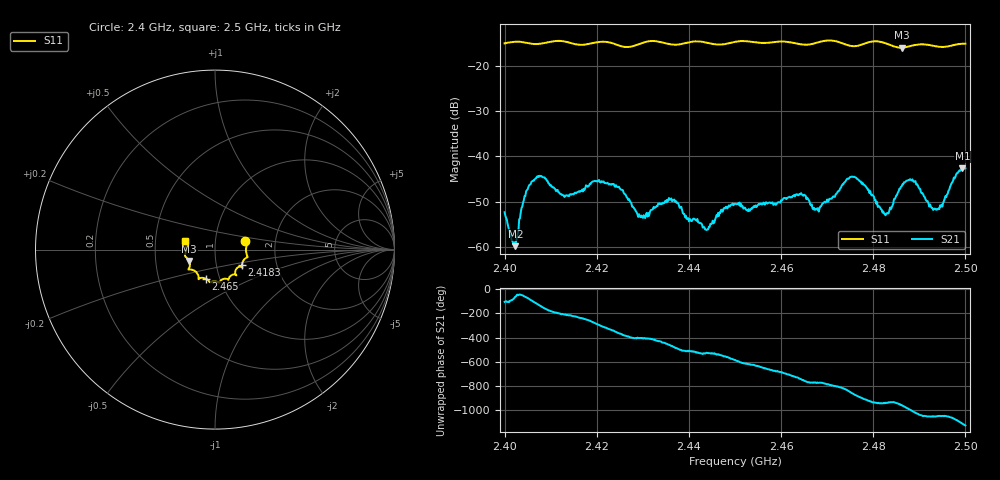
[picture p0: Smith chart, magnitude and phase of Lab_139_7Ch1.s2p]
# Hz S RI R 50
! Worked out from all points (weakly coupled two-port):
!   601 points, 2.4 GHz to 2.5 GHz, reference 50 ohm
!   highest |S21| = -42.58 dB at 2.4993 GHz (marker M1); lowest = -59.8 dB at 2.4023 GHz (marker M2)
!   lowest |S11| = -16.1 dB at 2.4862 GHz (marker M3), VSWR 1.37, Z = 37.2 - j4.8 ohm
!   |S11| at or under -10 dB: start of sweep to end of sweep
!   S12 and S22 are empty: the file has one direction only
!   S11 on the Smith chart (normalised r, x): 2.4 GHz: 1.40, +0.13; 2.4183 GHz: 1.33, -0.24; 2.465 GHz: 0.86, -0.29; 2.5 GHz: 0.71, +0.07
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2.4e9  0.1693 0.0459  -0.000626 -0.00235  0 0  0 0
2.402333e9  0.1793 0.0356  0.000481 -0.000908  0 0  0 0
2.4045e9  0.1774 0.0239  0.00162 -0.00329  0 0  0 0
2.407e9  0.1725 -0.00318  -0.00292 -0.00522  0 0  0 0
2.412667e9  0.1805 -0.0428  -0.00334 0.00168  0 0  0 0
2.416667e9  0.1549 -0.0679  -0.00219 0.00354  0 0  0 0
2.418333e9  0.1499 -0.087  -0.000886 0.00468  0 0  0 0
2.424667e9  0.1374 -0.0951  0.00462 -0.000259  0 0  0 0
2.4295e9  0.113 -0.1335  0.00156 -0.00147  0 0  0 0
2.433333e9  0.1174 -0.1411  0.00104 -0.00284  0 0  0 0
2.436667e9  0.0932 -0.1422  -0.00148 -0.00298  0 0  0 0
2.443667e9  0.0701 -0.1651  -0.00154 -0.000294  0 0  0 0
2.45e9  0.0251 -0.1806  -0.00214 0.00213  0 0  0 0
2.465e9  -0.0524 -0.1617  0.00305 -0.00224  0 0  0 0
2.466667e9  -0.0712 -0.1571  0.00181 -0.00234  0 0  0 0
2.4755e9  -0.1054 -0.125  -0.00465 -0.00377  0 0  0 0
2.483333e9  -0.1414 -0.0963  -0.00193 0.00137  0 0  0 0
2.486167e9  -0.144 -0.063  -0.00251 0.00395  0 0  0 0
2.488667e9  -0.1612 -0.0427  0.00201 0.00494  0 0  0 0
2.493833e9  -0.1618 -0.0107  0.00229 0.00129  0 0  0 0
2.499333e9  -0.1682 0.0441  0.00629 -0.00394  0 0  0 0
2.5e9  -0.1674 0.047  0.00507 -0.00534  0 0  0 0
